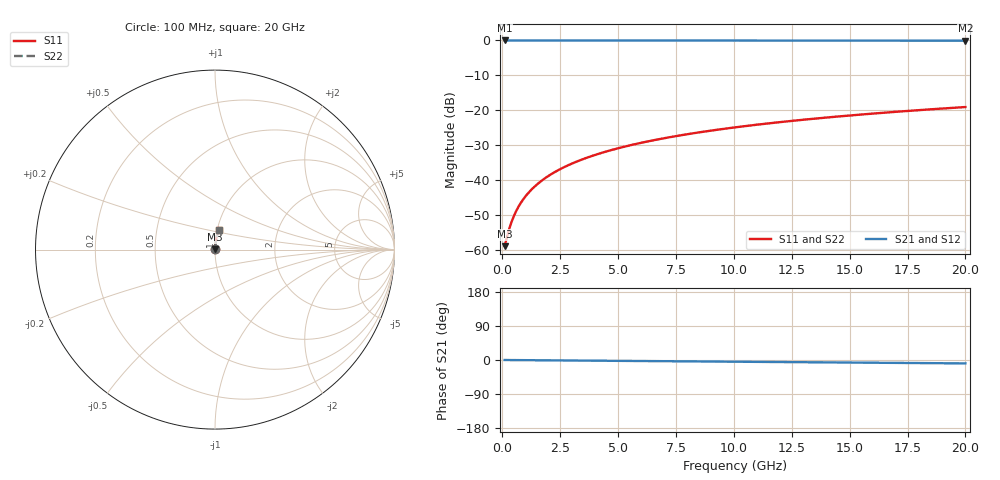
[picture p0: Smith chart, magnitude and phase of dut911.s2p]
! Touchstone file exported from HFSS 2026.1.0
!  File:  C:/ffzhzh/LocalFiles/Ansys_Project_Files/temp_train_TSV_911_1783186372_18472.aedt
!  Generated:  01:35:10 AM Jul  5, 2026
!  Design:  TSV
!  Project:  temp_train_TSV_911_1783186372_18472
! Variables:
!  h_bsmrdl = 2um
!  h_ox = 20um
!  h_rdl = 5um
!  h_sub = 55.33um
!  h_tmrdl = 5um
!  h_tsv = 55.33um
!  h_via = 3um
!  l_bsmrdl = 300um
!  l_sub = 405.2um
!  l_tmrdl = 200um
!  m_sub = 200um
!  pitch = 48.43um
!  r_tsv = 2.6um
!  s_tmrdl = 10um
!  w_bsmrdl = 18um
!  w_sub = 500um
!  w_tmrdl = 12um
!  x_tsv_center1 = 206um
!  x_tsv_center2 = 524um
!  x_tsv_center3 = 736um
!  x_tsv_center4 = 1054um
!  x_tsv_center5 = 1266um
!  x_tsv_center6 = 1584um
# GHz S MA R 50.000000
! Terminal data exported
! Port[1] = TSV1_1_T1
! Port[2] = TSV1_1_T2
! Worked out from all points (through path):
!   200 points, 100 MHz to 20 GHz, reference 50 ohm
!   highest |S21| = -0.01 dB at 100 MHz (marker M1); lowest = -0.1 dB at 20 GHz (marker M2)
!   group delay of S21, straight-line fit = 1.25 ps
!   lowest |S11| = -58.9 dB at 100 MHz (marker M3), VSWR 1.00, Z = 50.1 + j0.0581 ohm
!   |S11| at or under -10 dB: start of sweep to end of sweep
!   |S22| runs from -58.9 to -19.1 dB; largest |S21 - S12| = 3.2e-15
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0.1  0.00113 30.9  0.999 -0.0  0.999 -0.0  0.00113 30.9
! Gamma 0 0 0 0
! Port Impedance 50 0 50 0
0.3  0.001995 60.4  0.999 -0.1  0.999 -0.1  0.001995 60.4
0.4  0.002514 66.7  0.999 -0.2  0.999 -0.2  0.002514 66.7
0.5  0.003052 70.8  0.999 -0.2  0.999 -0.2  0.003052 70.8
0.6  0.003599 73.6  0.999 -0.3  0.999 -0.3  0.003599 73.6
0.8  0.00471 77.3  0.999 -0.4  0.999 -0.4  0.00471 77.3
1  0.005832 79.5  0.999 -0.5  0.999 -0.5  0.005832 79.5
1.2  0.00696 81.0  0.999 -0.5  0.999 -0.5  0.00696 81.0
1.4  0.008091 82.0  0.9989 -0.6  0.9989 -0.6  0.008091 82.0
1.7  0.009793 83.1  0.9989 -0.8  0.9989 -0.8  0.009793 83.1
2.2  0.01263 84.1  0.9989 -1.0  0.9989 -1.0  0.01263 84.1
2.8  0.01605 84.8  0.9988 -1.3  0.9988 -1.3  0.01605 84.8
3.5  0.02003 85.1  0.9987 -1.6  0.9987 -1.6  0.02003 85.1
4.2  0.024 85.2  0.9985 -1.9  0.9985 -1.9  0.024 85.2
5  0.02853 85.2  0.9983 -2.3  0.9983 -2.3  0.02853 85.2
5.9  0.03362 85.0  0.9981 -2.7  0.9981 -2.7  0.03362 85.0
6.8  0.03868 84.8  0.9978 -3.1  0.9978 -3.1  0.03868 84.8
8.3  0.04709 84.3  0.9973 -3.8  0.9973 -3.8  0.04709 84.3
10.1  0.05712 83.6  0.9966 -4.6  0.9966 -4.6  0.05712 83.6
13.4  0.07533 82.3  0.995 -6.1  0.995 -6.1  0.07533 82.3
16.7  0.09336 81.0  0.9932 -7.5  0.9932 -7.5  0.09336 81.0
20  0.1112 79.6  0.9911 -9.0  0.9911 -9.0  0.1112 79.6
